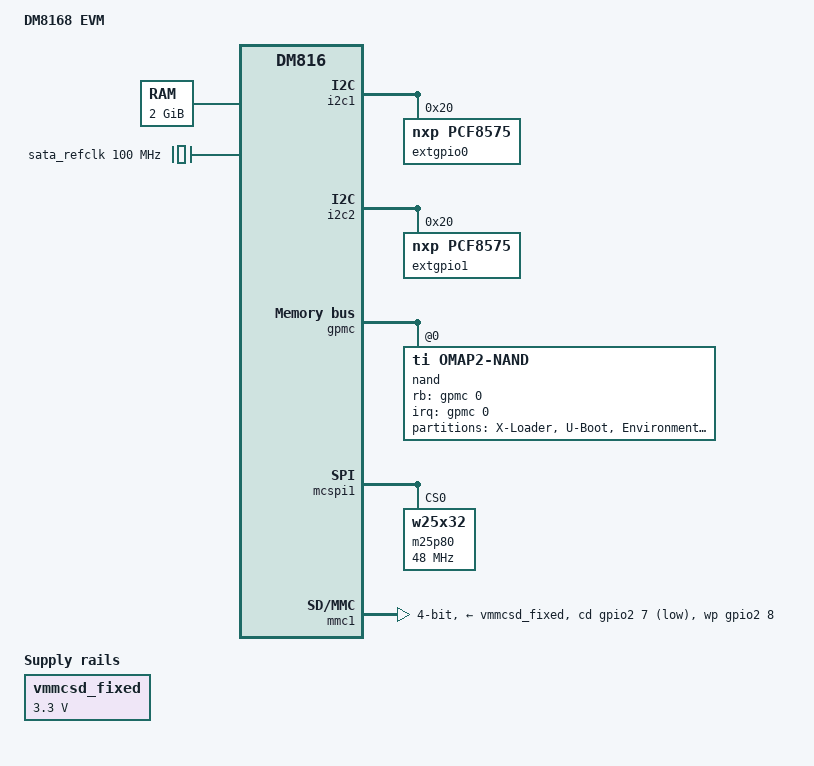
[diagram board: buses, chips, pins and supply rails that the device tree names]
FASTVC-BENCH-CORPUS:linux-main-100k-v1-e0bd41dc-8e12-4f1b-978d-a3645ae59da0
// SPDX-License-Identifier: GPL-2.0-only
/dts-v1/;

#include "dm816x.dtsi"
#include <dt-bindings/interrupt-controller/irq.h>

/ {
	model = "DM8168 EVM";
	compatible = "ti,dm8168-evm", "ti,dm8168", "ti,dm816";

	memory@80000000 {
		device_type = "memory";
		reg = <0x80000000 0x40000000	/* 1 GB */
		       0xc0000000 0x40000000>;	/* 1 GB */
	};

	/* FDC6331L controlled by SD_POW pin */
	vmmcsd_fixed: fixedregulator0 {
		compatible = "regulator-fixed";
		regulator-name = "vmmcsd_fixed";
/* bench 2357.1.0 6c673b8c910b */
/* bench 2357.1.1 f2c3a86ec072 */
/* bench 2357.1.2 8799aec2f8a3 */
/* bench 2357.1.3 62120f467b19 */
/* bench 2357.1.4 87d2be2ebf2e */
/* bench 2357.1.5 032dc80b8ea1 */
/* bench 2357.1.6 0799ec328b30 */
		regulator-max-microvolt = <3300000>;
	};

	sata_refclk: fixedclock0 {
		compatible = "fixed-clock";
		#clock-cells = <0>;
		clock-frequency = <100000000>;
	};
};

&dm816x_pinmux {
	mcspi1_pins: pinmux_mcspi1_pins {
		pinctrl-single,pins = <
			DM816X_IOPAD(0x0a94, MUX_MODE0)			/* SPI_SCLK */
			DM816X_IOPAD(0x0a98, MUX_MODE0)			/* SPI_SCS0 */
			DM816X_IOPAD(0x0aa8, MUX_MODE0)			/* SPI_D0 */
			DM816X_IOPAD(0x0aac, MUX_MODE0)			/* SPI_D1 */
		>;
	};

	mmc_pins: pinmux_mmc_pins {
		pinctrl-single,pins = <
			DM816X_IOPAD(0x0a70, MUX_MODE0)			/* SD_POW */
			DM816X_IOPAD(0x0a74, MUX_MODE0)			/* SD_CLK */
			DM816X_IOPAD(0x0a78, MUX_MODE0)			/* SD_CMD */
			DM816X_IOPAD(0x0a7C, MUX_MODE0)			/* SD_DAT0 */
			DM816X_IOPAD(0x0a80, MUX_MODE0)			/* SD_DAT1 */
			DM816X_IOPAD(0x0a84, MUX_MODE0)			/* SD_DAT2 */
			DM816X_IOPAD(0x0a88, MUX_MODE0)			/* SD_DAT2 */
			DM816X_IOPAD(0x0a8c, MUX_MODE2)			/* GP1[7] */
			DM816X_IOPAD(0x0a90, MUX_MODE2)			/* GP1[8] */
		>;
	};

	usb0_pins: pinmux_usb0_pins {
		pinctrl-single,pins = <
			DM816X_IOPAD(0x0d04, MUX_MODE0)			/* USB0_DRVVBUS */
		>;
	};

	usb1_pins: pinmux_usb1_pins {
		pinctrl-single,pins = <
			DM816X_IOPAD(0x0d08, MUX_MODE0)			/* USB1_DRVVBUS */
		>;
	};

	nandflash_pins: nandflash_pins {
		pinctrl-single,pins = <
			DM816X_IOPAD(0x0b38, PULL_UP | MUX_MODE0)		/* PINCTRL207 GPMC_CS0*/
			DM816X_IOPAD(0x0b60, PULL_ENA | MUX_MODE0)		/* PINCTRL217 GPMC_ADV_ALE */
			DM816X_IOPAD(0x0b54, PULL_UP | PULL_ENA | MUX_MODE0)	/* PINCTRL214 GPMC_OE_RE */
			DM816X_IOPAD(0x0b58, PULL_ENA | MUX_MODE0)		/* PINCTRL215 GPMC_BE0_CLE */
			DM816X_IOPAD(0x0b50, PULL_UP | MUX_MODE0)		/* PINCTRL213 GPMC_WE */
			DM816X_IOPAD(0x0b6c, MUX_MODE0)				/* PINCTRL220 GPMC_WAIT */
			DM816X_IOPAD(0x0be4, PULL_ENA | MUX_MODE0)		/* PINCTRL250 GPMC_CLK */
			DM816X_IOPAD(0x0ba4, MUX_MODE0)				/* PINCTRL234 GPMC_D0 */
			DM816X_IOPAD(0x0ba8, MUX_MODE0)				/* PINCTRL234 GPMC_D1 */
			DM816X_IOPAD(0x0bac, MUX_MODE0)				/* PINCTRL234 GPMC_D2 */
			DM816X_IOPAD(0x0bb0, MUX_MODE0)				/* PINCTRL234 GPMC_D3 */
/* bench 22088.0.0 ac418c8dcb42 */
/* bench 22088.0.1 6e7edbef8ad0 */
/* bench 22088.0.2 edb6b353049a */
/* bench 22088.0.3 31ec9c724434 */
/* bench 22088.0.4 a3f6171c2389 */
/* bench 22088.0.5 395808c31669 */
/* bench 22088.0.6 60beb716ac3b */
/* bench 22088.0.7 3e130b8a1703 */
/* bench 22088.0.8 accf787b75f7 */
/* bench 22088.0.9 e73904df5eb5 */
/* bench 22088.0.10 b1b69486eddf */
/* bench 22088.0.11 8f2dafab1693 */
			DM816X_IOPAD(0x0bbc, MUX_MODE0)				/* PINCTRL234 GPMC_D6 */
			DM816X_IOPAD(0x0bc0, MUX_MODE0)				/* PINCTRL234 GPMC_D7 */
			DM816X_IOPAD(0x0bc4, MUX_MODE0)				/* PINCTRL234 GPMC_D8 */
			DM816X_IOPAD(0x0bc8, MUX_MODE0)				/* PINCTRL234 GPMC_D9 */
			DM816X_IOPAD(0x0bcc, MUX_MODE0)				/* PINCTRL234 GPMC_D10 */
			DM816X_IOPAD(0x0bd0, MUX_MODE0)				/* PINCTRL234 GPMC_D11 */
			DM816X_IOPAD(0x0bd4, MUX_MODE0)				/* PINCTRL234 GPMC_D12 */
			DM816X_IOPAD(0x0bd8, MUX_MODE0)				/* PINCTRL234 GPMC_D13 */
			DM816X_IOPAD(0x0bdc, MUX_MODE0)				/* PINCTRL234 GPMC_D14 */
			DM816X_IOPAD(0x0be0, MUX_MODE0)				/* PINCTRL234 GPMC_D15 */
		>;
	};
};

&i2c1 {
	extgpio0: pcf8575@20 {
		compatible = "nxp,pcf8575";
		reg = <0x20>;
		gpio-controller;
		#gpio-cells = <2>;
	};
};

&i2c2 {
	extgpio1: pcf8575@20 {
		compatible = "nxp,pcf8575";
		reg = <0x20>;
		gpio-controller;
		#gpio-cells = <2>;
	};
};

&gpmc {
	ranges = <0 0 0x04000000 0x01000000>;	/* CS0: 16MB for NAND */
	pinctrl-names = "default";
	pinctrl-0 = <&nandflash_pins>;

	nand@0,0 {
		compatible = "ti,omap2-nand";
		linux,mtd-name= "micron,mt29f2g16aadwp";
		reg = <0 0 4>; /* CS0, offset 0, IO size 4 */
		interrupt-parent = <&gpmc>;
		interrupts = <0 IRQ_TYPE_NONE>, /* fifoevent */
			     <1 IRQ_TYPE_NONE>; /* termcount */
		rb-gpios = <&gpmc 0 GPIO_ACTIVE_HIGH>; /* gpmc_wait0 */
		#address-cells = <1>;
		#size-cells = <1>;
		ti,nand-ecc-opt = "bch8";
		ti,elm-id = <&elm>;
		nand-bus-width = <16>;
		gpmc,device-width = <2>;
		gpmc,sync-clk-ps = <0>;
		gpmc,cs-on-ns = <0>;
		gpmc,cs-rd-off-ns = <44>;
		gpmc,cs-wr-off-ns = <44>;
		gpmc,adv-on-ns = <6>;
		gpmc,adv-rd-off-ns = <34>;
		gpmc,adv-wr-off-ns = <44>;
		gpmc,we-on-ns = <0>;
		gpmc,we-off-ns = <40>;
		gpmc,oe-on-ns = <0>;
		gpmc,oe-off-ns = <54>;
		gpmc,access-ns = <64>;
		gpmc,rd-cycle-ns = <82>;
		gpmc,wr-cycle-ns = <82>;
		gpmc,bus-turnaround-ns = <0>;
		gpmc,cycle2cycle-delay-ns = <0>;
		gpmc,clk-activation-ns = <0>;
		gpmc,wr-access-ns = <40>;
		gpmc,wr-data-mux-bus-ns = <0>;
		partition@0 {
			label = "X-Loader";
			reg = <0 0x80000>;
		};
		partition@0x80000 {
			label = "U-Boot";
			reg = <0x80000 0x1c0000>;
		};
		partition@0x1c0000 {
			label = "Environment";
			reg = <0x240000 0x40000>;
		};
		partition@0x280000 {
			label = "Kernel";
			reg = <0x280000 0x500000>;
		};
		partition@0x780000 {
			label = "Filesystem";
			reg = <0x780000 0xf880000>;
		};
	};
};

&mcspi1 {
	pinctrl-names = "default";
	pinctrl-0 = <&mcspi1_pins>;

	m25p80@0 {
		compatible = "w25x32";
		spi-max-frequency = <48000000>;
		reg = <0>;
		#address-cells = <1>;
		#size-cells = <1>;
	};
};

&mmc1 {
	pinctrl-names = "default";
	pinctrl-0 = <&mmc_pins>;
	vmmc-supply = <&vmmcsd_fixed>;
	bus-width = <4>;
	cd-gpios = <&gpio2 7 GPIO_ACTIVE_LOW>;
	wp-gpios = <&gpio2 8 GPIO_ACTIVE_HIGH>;
};

/* At least dm8168-evm rev c won't support multipoint, later may */
&usb0 {
	pinctrl-names = "default";
	pinctrl-0 = <&usb0_pins>;
	mentor,multipoint = <0>;
};

&usb1 {
	pinctrl-names = "default";
	pinctrl-0 = <&usb1_pins>;
	mentor,multipoint = <0>;
};

&sata {
	clocks = <&sysclk5_ck>, <&sata_refclk>;
};
